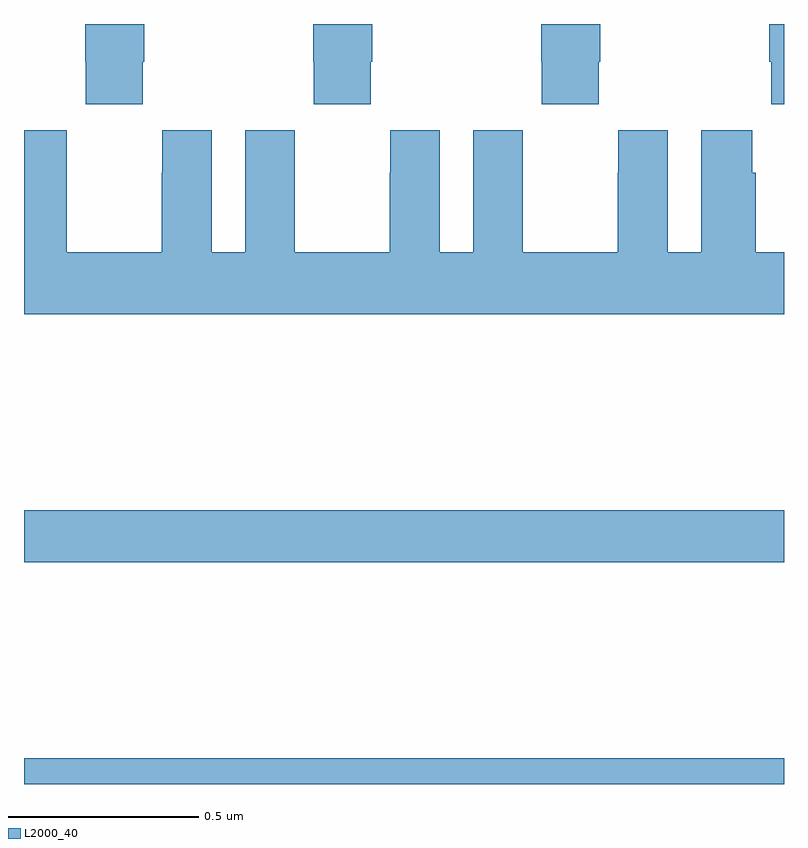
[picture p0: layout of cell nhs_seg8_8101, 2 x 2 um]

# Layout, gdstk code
import gdstk
lib = gdstk.Library(unit=1e-6, precision=1e-09)
def R(c, l, rs):  # rectangles x0, y0, x1, y1
    for r in rs: c.add(gdstk.rectangle(r[:2], r[2:], *l))
def P(c, l, *ps):  # polygons
    for p in ps: c.add(gdstk.Polygon(p, *l))
L2000_40 = (2000, 40)

nhs_seg8_8101 = lib.new_cell('nhs_seg8_8101')
R(nhs_seg8_8101, L2000_40, [(218,1145.9,220,1145.968), (218,1146.484,220,1146.62)])
P(nhs_seg8_8101, L2000_40, [(220,1147.9),(219.961,1147.9),(219.961,1147.801),(219.967,1147.801),(219.967,1147.689),(220,1147.689)],
  [(218.313,1147.801),(218.316,1147.801),(218.316,1147.9),(218.161,1147.9),(218.161,1147.801),(218.163,1147.801),(218.163,1147.689),(218.313,1147.689)],
  [(218.913,1147.801),(218.916,1147.801),(218.916,1147.9),(218.761,1147.9),(218.761,1147.801),(218.763,1147.801),(218.763,1147.689),(218.913,1147.689)],
  [(219.513,1147.801),(219.516,1147.801),(219.516,1147.9),(219.361,1147.9),(219.361,1147.801),(219.363,1147.801),(219.363,1147.689),(219.513,1147.689)],
  [(220,1147.3),(219.926,1147.3),(219.926,1147.508),(219.916,1147.508),(219.916,1147.621),(219.782,1147.621),(219.782,1147.3),(219.694,1147.3),(219.694,1147.621),(219.564,1147.621),(219.564,1147.508),(219.563,1147.508),(219.563,1147.3),(219.313,1147.3),(219.313,1147.508),(219.312,1147.508),(219.312,1147.621),(219.182,1147.621),(219.182,1147.3),(219.094,1147.3),(219.094,1147.621),(218.964,1147.621),(218.964,1147.508),(218.963,1147.508),(218.963,1147.3),(218.713,1147.3),(218.713,1147.508),(218.712,1147.508),(218.712,1147.621),(218.582,1147.621),(218.582,1147.3),(218.494,1147.3),(218.494,1147.621),(218.364,1147.621),(218.364,1147.508),(218.363,1147.508),(218.363,1147.3),(218.113,1147.3),(218.113,1147.508),(218.112,1147.508),(218.112,1147.621),(218,1147.621),(218,1147.136),(220,1147.136)])

lib.write_gds('nhs_seg8_8101.gds')
